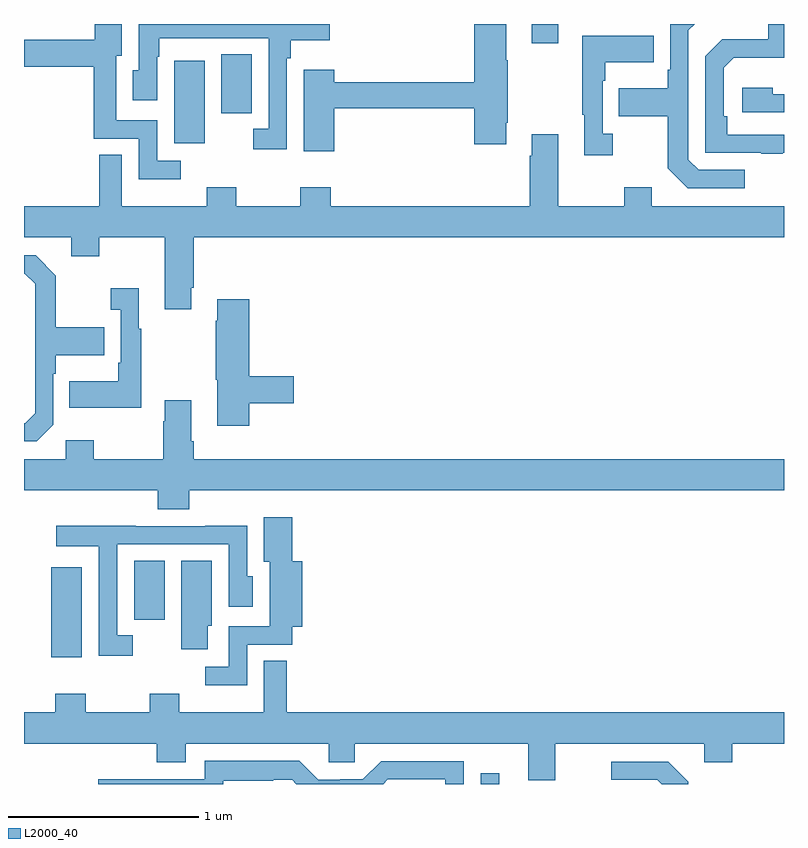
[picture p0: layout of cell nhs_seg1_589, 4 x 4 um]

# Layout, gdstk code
import gdstk
lib = gdstk.Library(unit=1e-6, precision=1e-09)
def R(c, l, rs):  # rectangles x0, y0, x1, y1
    for r in rs: c.add(gdstk.rectangle(r[:2], r[2:], *l))
def P(c, l, *ps):  # polygons
    for p in ps: c.add(gdstk.Polygon(p, *l))
L2000_40 = (2000, 40)

nhs_seg1_589 = lib.new_cell('nhs_seg1_589')
R(nhs_seg1_589, L2000_40, [(145.405,538.199,145.501,538.255), (143.144,538.866,143.305,539.341), (143.579,539.064,143.74,539.375), (143.792,541.572,143.95,542.005), (144.038,541.728,144.199,542.039), (145.673,542.097,145.813,542.199)])
P(nhs_seg1_589, L2000_40, [(144.632,541.756),(145.37,541.756),(145.37,541.566),(145.537,541.566),(145.537,541.678),(145.545,541.678),(145.545,542.009),(145.537,542.009),(145.537,542.199),(145.37,542.199),(145.37,541.892),(144.632,541.892),(144.632,541.957),(144.473,541.957),(144.473,541.53),(144.632,541.53)],
  [(143.824,541.479),(143.7,541.479),(143.7,541.692),(143.485,541.692),(143.485,542.033),(143.515,542.033),(143.515,542.199),(143.372,542.199),(143.372,542.115),(143,542.115),(143,541.973),(143.367,541.973),(143.367,541.596),(143.604,541.596),(143.604,541.382),(143.824,541.382)],
  [(146.993,541.521),(147,541.521),(147,541.617),(146.702,541.617),(146.702,541.714),(146.682,541.714),(146.682,541.968),(146.735,542.021),(147,542.021),(147,542.199),(146.916,542.199),(146.916,542.118),(146.676,542.118),(146.586,542.028),(146.586,541.521),(146.881,541.521),(146.881,541.516),(146.993,541.516)],
  [(144.384,542.018),(144.404,542.018),(144.404,542.114),(144.61,542.114),(144.61,542.199),(143.604,542.199),(143.604,541.956),(143.573,541.956),(143.573,541.797),(143.7,541.797),(143.7,542.027),(143.713,542.027),(143.713,542.124),(144.288,542.124),(144.288,541.647),(144.207,541.647),(144.207,541.539),(144.384,541.539)],
  [(146.794,541.431),(146.55,541.431),(146.496,541.485),(146.496,542.166),(146.529,542.199),(146.4,542.199),(146.4,541.957),(146.388,541.957),(146.388,541.861),(146.131,541.861),(146.131,541.714),(146.388,541.714),(146.388,541.441),(146.493,541.335),(146.794,541.335)],
  [(146.098,541.622),(146.046,541.622),(146.046,541.901),(146.059,541.901),(146.059,541.997),(146.315,541.997),(146.315,542.137),(145.938,542.137),(145.938,541.721),(145.949,541.721),(145.949,541.509),(146.098,541.509)],
  [(147,541.83),(146.942,541.83),(146.942,541.864),(146.781,541.864),(146.781,541.734),(147,541.734)],
  [(143.881,540.811),(143.894,540.811),(143.894,541.076),(147,541.076),(147,541.24),(146.305,541.24),(146.305,541.339),(146.158,541.339),(146.158,541.24),(145.813,541.24),(145.813,541.618),(145.673,541.618),(145.673,541.505),(145.661,541.505),(145.661,541.24),(144.614,541.24),(144.614,541.339),(144.454,541.339),(144.454,541.24),(144.117,541.24),(144.117,541.339),(143.962,541.339),(143.962,541.24),(143.515,541.24),(143.515,541.511),(143.397,541.511),(143.397,541.24),(143,541.24),(143,541.076),(143.249,541.076),(143.249,540.977),(143.397,540.977),(143.397,541.076),(143.741,541.076),(143.741,540.699),(143.881,540.699)],
  [(143.154,540.09),(143.154,540.359),(143.167,540.359),(143.167,540.455),(143.423,540.455),(143.423,540.603),(143.167,540.603),(143.167,540.875),(143.061,540.981),(143,540.981),(143,540.885),(143.004,540.885),(143.058,540.831),(143.058,540.15),(143.007,540.099),(143,540.099),(143,540.003),(143.067,540.003)],
  [(143.617,540.595),(143.605,540.595),(143.605,540.808),(143.457,540.808),(143.457,540.695),(143.508,540.695),(143.508,540.415),(143.496,540.415),(143.496,540.319),(143.239,540.319),(143.239,540.179),(143.617,540.179)],
  [(144.185,540.202),(144.421,540.202),(144.421,540.344),(144.185,540.344),(144.185,540.751),(144.017,540.751),(144.017,540.638),(144.01,540.638),(144.01,540.327),(144.017,540.327),(144.017,540.084),(144.185,540.084)],
  [(143.87,539.744),(147,539.744),(147,539.908),(143.894,539.908),(143.894,540.004),(143.881,540.004),(143.881,540.22),(143.741,540.22),(143.741,540.107),(143.734,540.107),(143.734,539.908),(143.367,539.908),(143.367,540.007),(143.22,540.007),(143.22,539.908),(143,539.908),(143,539.744),(143.705,539.744),(143.705,539.645),(143.87,539.645)],
  [(144.174,538.932),(144.412,538.932),(144.412,539.027),(144.464,539.027),(144.464,539.371),(144.412,539.371),(144.412,539.602),(144.263,539.602),(144.263,539.369),(144.293,539.369),(144.293,539.028),(144.078,539.028),(144.078,538.815),(143.955,538.815),(143.955,538.718),(144.174,538.718)],
  [(143.572,538.983),(143.49,538.983),(143.49,539.46),(144.078,539.46),(144.078,539.133),(144.205,539.133),(144.205,539.292),(144.174,539.292),(144.174,539.558),(143.953,539.558),(143.953,539.556),(143.587,539.556),(143.587,539.558),(143.169,539.558),(143.169,539.45),(143.394,539.45),(143.394,538.875),(143.572,538.875)],
  [(143.968,539.031),(143.989,539.031),(143.989,539.375),(143.828,539.375),(143.828,538.908),(143.968,538.908)],
  [(145.795,538.412),(146.579,538.412),(146.579,538.313),(146.727,538.313),(146.727,538.412),(147,538.412),(147,538.576),(144.382,538.576),(144.382,538.847),(144.263,538.847),(144.263,538.576),(143.817,538.576),(143.817,538.675),(143.662,538.675),(143.662,538.576),(143.325,538.576),(143.325,538.675),(143.165,538.675),(143.165,538.576),(143,538.576),(143,538.412),(143.699,538.412),(143.699,538.313),(143.851,538.313),(143.851,538.412),(144.603,538.412),(144.603,538.314),(144.741,538.314),(144.741,538.412),(145.655,538.412),(145.655,538.218),(145.795,538.218)],
  [(144.048,538.217),(144.311,538.217),(144.311,538.221),(144.411,538.221),(144.433,538.199),(144.89,538.199),(144.915,538.224),(145.218,538.224),(145.218,538.199),(145.314,538.199),(145.314,538.32),(144.879,538.32),(144.783,538.224),(144.665,538.224),(144.665,538.221),(144.549,538.221),(144.449,538.321),(143.952,538.321),(143.952,538.224),(143.391,538.224),(143.391,538.199),(144.048,538.199)],
  [(146.497,538.211),(146.391,538.317),(146.091,538.317),(146.091,538.221),(146.334,538.221),(146.356,538.199),(146.497,538.199)])

lib.write_gds('nhs_seg1_589.gds')
